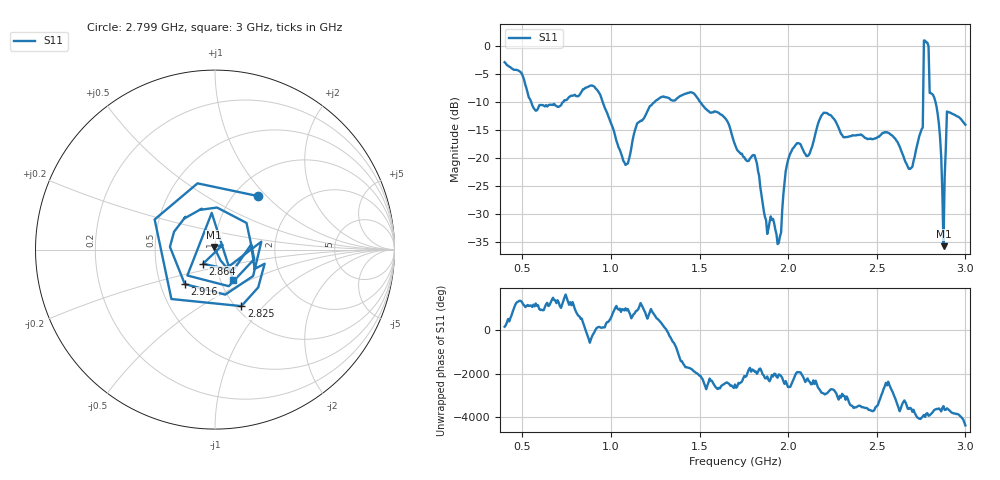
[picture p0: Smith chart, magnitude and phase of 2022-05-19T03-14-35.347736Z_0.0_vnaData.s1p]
!Created with skrf (http://scikit-rf.org).
# Hz S RI R 50.0
!freq ReS11 ImS11
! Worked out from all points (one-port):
!   401 points, 400 MHz to 3 GHz, reference 50 ohm
!   lowest |S11| = -35.7 dB at 2.877 GHz (marker M1), VSWR 1.03, Z = 49.4 + j1.51 ohm
!   |S11| at or under -10 dB: 550.7 MHz to 728 MHz (177.3 MHz wide, 27.7 % of centre); 953.9 MHz to 1.245 GHz (290.8 MHz wide, 26.5 % of centre); 1.505 GHz to 2.761 GHz (1.257 GHz wide, 58.9 % of centre) (the widest 3 of 4)
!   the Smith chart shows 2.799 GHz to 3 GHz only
!   S11 on the Smith chart (normalised r, x): 2.799 GHz: 1.29, +0.90; 2.825 GHz: 1.06, -0.76; 2.864 GHz: 0.86, -0.14; 2.916 GHz: 0.67, -0.27; 3 GHz: 1.15, -0.41
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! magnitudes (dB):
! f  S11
! 400 MHz  -2.8
! 569 MHz  -11.2
! 725 MHz  -10.1
! 907 MHz  -7.2
! 1.05 GHz  -18.5
! 1.089 GHz  -21.0
! 1.226 GHz  -10.6
! 1.375 GHz  -9.2
! 1.7 GHz  -17.6
! 1.81 GHz  -19.5
! 1.875 GHz  -31.1
! 1.947 GHz  -35.1
! 1.992 GHz  -21.3
! 2.025 GHz  -18.3
! 2.116 GHz  -19.4
! 2.207 GHz  -11.9
! 2.35 GHz  -16.1
! 2.571 GHz  -15.6
! 2.675 GHz  -21.5
! 2.747 GHz  -15.4
! 2.779 GHz  0.7
! 2.799 GHz  -8.3
! 2.825 GHz  -9.2
! 2.85 GHz  -13.8
! 2.864 GHz  -19.7
! 2.877 GHz  -35.7
! 2.916 GHz  -11.9
! 3 GHz  -14.0
